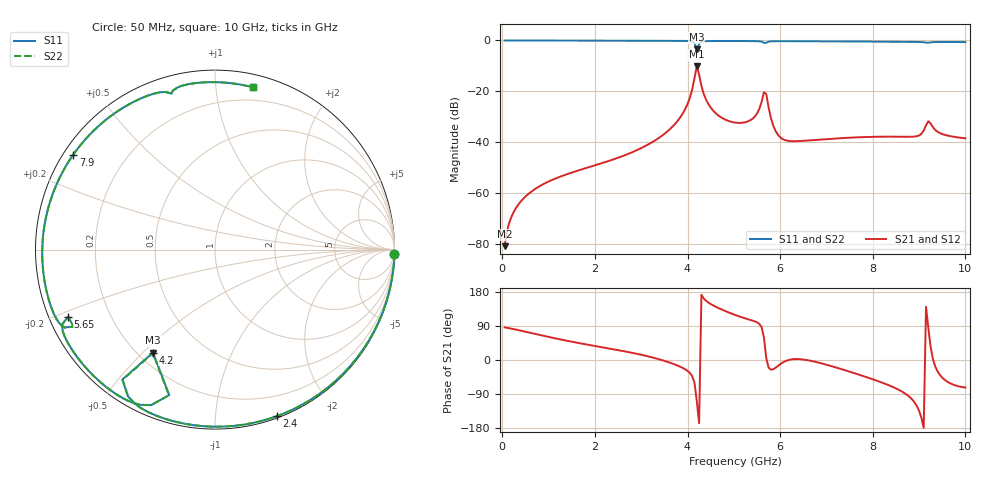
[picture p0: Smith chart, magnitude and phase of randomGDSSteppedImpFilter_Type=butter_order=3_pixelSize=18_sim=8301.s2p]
! freq	dB(S11)	phase(S11)	dB(S12)	phase(S12)
!  dB(S21)	phase(S21)	dB(S22)	phase(S22)
!S-par simulation data
#  GHz  S  DB  R 50
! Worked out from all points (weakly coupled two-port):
!   200 points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, 50 MHz to 10 GHz, reference 50 ohm
!   highest |S21| = -10.13 dB at 4.2 GHz (marker M1); lowest = -80.9 dB at 50 MHz (marker M2)
!   lowest |S11| = -3.5 dB at 4.2 GHz (marker M3), VSWR 5.05, Z = 12.9 - j26.8 ohm
!   |S11| at or under -10 dB: nowhere
!   |S22| runs from -3.4 to 0.0 dB; largest |S21 - S12| = 0
!   S11 on the Smith chart (normalised r, x): 50 MHz: 0, -76; 2.4 GHz: 0.02, -1.44; 4.2 GHz: 0.26, -0.54; 5.65 GHz: 0.06, -0.22; 7.9 GHz: 0.03, +0.30; 10 GHz: 0.10, +1.26
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0.05  -0.00 -1.5  -80.93 86.1  -80.93 86.1  -0.00 -1.5
0.2  -0.00 -6.0  -69.28 82.7  -69.28 82.7  -0.00 -6.0
0.5  -0.02 -15.0  -61.41 74.7  -61.41 74.7  -0.02 -15.0
1.75  -0.06 -51.5  -50.52 42.4  -50.52 42.4  -0.06 -51.5
2.4  -0.09 -69.7  -46.79 28.3  -46.79 28.3  -0.09 -69.7
3.4  -0.13 -97.1  -38.11 1.4  -38.11 1.4  -0.13 -97.0
3.95  -0.20 -113.3  -26.99 -24.6  -26.99 -24.6  -0.20 -113.2
4.15  -1.02 -125.5  -14.87 -59.9  -14.87 -59.9  -1.01 -125.4
4.2  -3.48 -121.1  -10.13 -108.5  -10.13 -108.5  -3.44 -121.0
4.3  -0.56 -112.4  -17.91 172.1  -17.91 172.1  -0.56 -112.4
4.5  -0.23 -121.9  -26.41 147.7  -26.41 147.7  -0.23 -121.9
5.05  -0.22 -137.6  -32.35 117.8  -32.35 117.8  -0.22 -137.6
5.45  -0.27 -148.7  -29.99 102.1  -29.99 102.1  -0.27 -148.6
5.65  -0.92 -155.4  -20.41 59.5  -20.41 59.5  -0.92 -155.3
5.85  -0.32 -156.5  -33.43 -24.4  -33.43 -24.4  -0.32 -156.4
6  -0.29 -161.0  -38.08 -11.2  -38.08 -11.2  -0.29 -160.9
6.7  -0.33 -179.9  -39.21 -3.1  -39.21 -3.1  -0.33 -179.8
7.9  -0.44 146.2  -37.96 -46.6  -37.96 -46.6  -0.44 146.3
8.35  -0.49 132.5  -37.84 -66.8  -37.84 -66.8  -0.49 132.6
9  -0.61 111.1  -37.38 -134.1  -37.38 -134.1  -0.61 111.2
9.2  -0.90 105.7  -31.78 84.3  -31.78 84.3  -0.90 105.8
10  -0.64 76.7  -38.48 -72.7  -38.48 -72.7  -0.64 76.8
